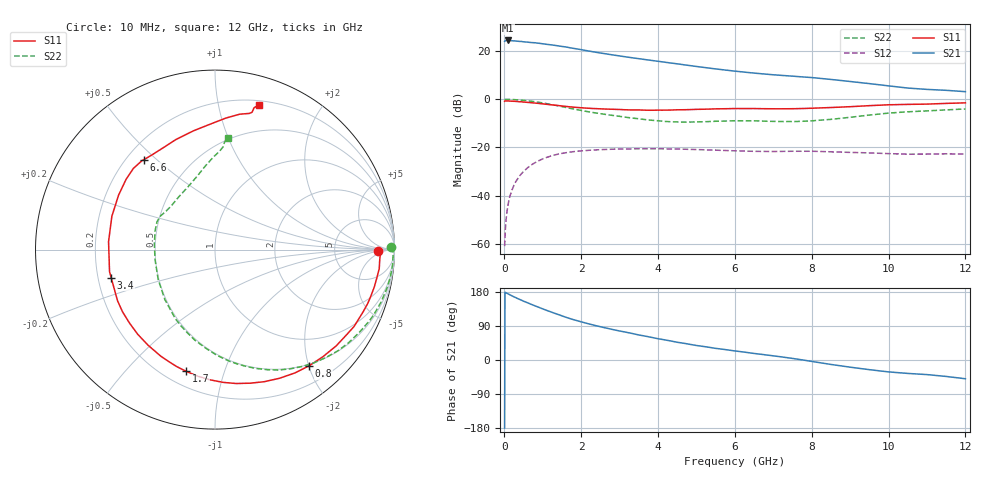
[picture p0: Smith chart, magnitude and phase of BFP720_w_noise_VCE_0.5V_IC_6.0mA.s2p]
! Infineon Technologies  Discrete & RF Semiconductors
! BFP720
! VCE =  0.5 V,  IC =  6.0 mA
! Common Emitter S-Parameters:  Aug 2012
# GHz  S  MA  R  50
!  f  S11  S21  S12  S22
! GHz  MAG  ANG  MAG  ANG  MAG  ANG  MAG  ANG
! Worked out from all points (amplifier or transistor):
!   105 points, 10 MHz to 12 GHz, reference 50 ohm
!   highest |S21| = 24.4 dB at 100 MHz (marker M1)
!   |S21| within 3 dB of that: start of sweep to 1.703 GHz
!   unconditionally stable (mu >= 1): start of sweep to 10.39 MHz; 6.578 GHz to end of sweep
!   at 300 MHz: K = 0.06, MSG = 29.2 dB, |S12| = -34.2 dB
!   at 3.6 GHz: K = 0.53, MSG = 18.6 dB, |S12| = -20.5 dB
!   at 12 GHz: K = 1.09, MAG = 11.1 dB, |S12| = -22.7 dB
!   lowest NFmin = 0.43 dB at 450 MHz
!   S11 on the Smith chart (normalised r, x): 10 MHz: 21, -2; 800 MHz: 0.47, -2.01; 1.7 GHz: 0.28, -0.75; 3.4 GHz: 0.25, -0.12; 6.6 GHz: 0.27, +0.46; 12 GHz: 0.24, +1.32
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0.01  0.9098 -0.4  15.82 -179.7  0.0009 -26.1  0.9789 0.7
0.02  0.9215 -1.3  16.29 178.9  0.0013 94.9  0.9927 -0.9
0.05  0.9197 -3.4  16.52 177.2  0.0033 91.9  0.9925 -2.4
0.1  0.9212 -6.6  16.53 174.7  0.0065 86.5  0.9929 -5.0
0.25  0.9063 -16.6  16.21 166.8  0.0163 80.8  0.9823 -12.5
0.4  0.8884 -26.2  15.8 159.9  0.0257 74.7  0.9619 -20.1
0.5  0.8744 -32.5  15.48 155.3  0.0316 71.2  0.9473 -24.8
0.8  0.833 -51.0  14.81 143.0  0.0483 60.4  0.8879 -39.3
1  0.8019 -63.4  14.12 135.0  0.058 53.4  0.8378 -48.9
1.3  0.7554 -81.0  13.14 123.7  0.0695 43.8  0.7579 -62.3
1.7  0.6971 -103.3  11.71 109.7  0.08 32.8  0.6515 -78.6
2.1  0.6565 -121.0  10.31 98.1  0.0861 23.9  0.5663 -92.6
2.6  0.6279 -139.5  8.842 85.4  0.0908 14.9  0.4889 -108.3
3  0.6134 -152.2  7.905 76.6  0.0928 8.9  0.4428 -120.1
3.4  0.5993 -164.9  7.107 68.4  0.0937 3.6  0.4015 -131.9
4.1  0.5938 172.9  5.972 54.5  0.0938 -4.6  0.3516 -155.4
5  0.6172 150.4  4.781 38.3  0.0906 -13.5  0.3393 174.8
6.1  0.6409 133.9  3.753 22.7  0.0849 -20.3  0.3578 153.3
6.6  0.6391 128.3  3.426 16.1  0.0831 -22.1  0.3548 147.3
8.5  0.6729 100.2  2.573 -11.7  0.0813 -32.3  0.3825 112.7
10.5  0.7821 75.9  1.705 -35.4  0.0726 -38.6  0.5491 87.3
12  0.8417 73.1  1.435 -49.5  0.0731 -42.9  0.628 83.3
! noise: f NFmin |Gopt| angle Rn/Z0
0.45  0.43  0.44  3  0.13
1.8  0.51  0.42  24  0.13
2.4  0.55  0.3  55  0.23
5.5  0.69  0.2  58  0.14
10  0.95  0.39  -89  0.21
